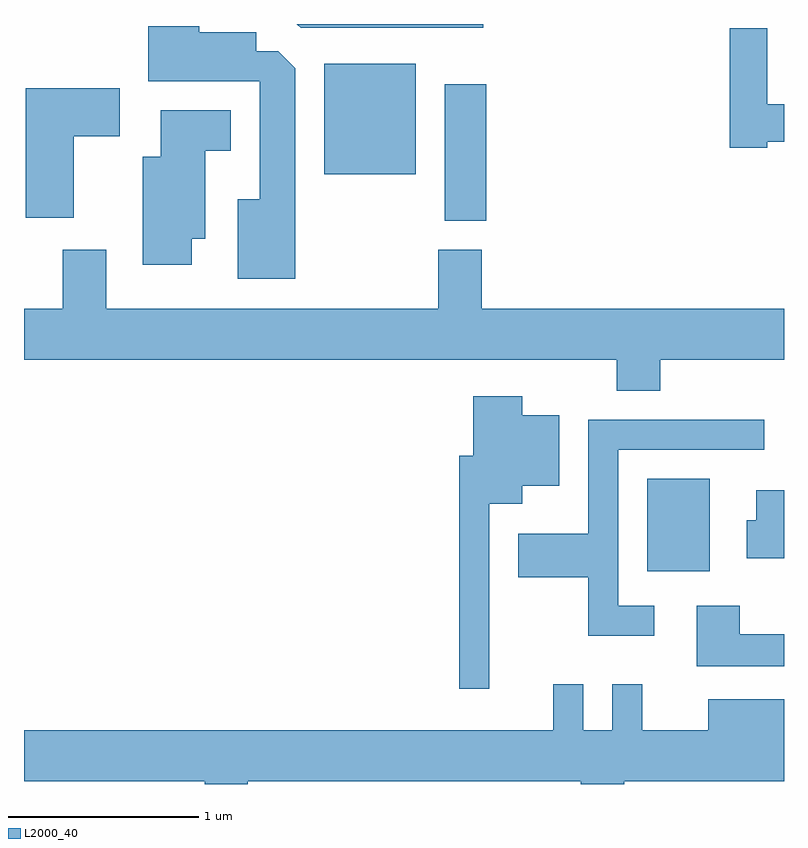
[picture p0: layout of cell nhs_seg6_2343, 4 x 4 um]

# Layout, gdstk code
import gdstk
lib = gdstk.Library(unit=1e-6, precision=1e-09)
def R(c, l, rs):  # rectangles x0, y0, x1, y1
    for r in rs: c.add(gdstk.rectangle(r[:2], r[2:], *l))
def P(c, l, *ps):  # polygons
    for p in ps: c.add(gdstk.Polygon(p, *l))
L2000_40 = (2000, 40)

nhs_seg6_2343 = lib.new_cell('nhs_seg6_2343')
R(nhs_seg6_2343, L2000_40, [(258.891,1633.281,259.219,1633.769), (257.826,1635.126,258.044,1635.844), (257.191,1635.371,257.674,1635.954)])
P(nhs_seg6_2343, L2000_40, [(258.028,1636.162),(257.046,1636.162),(257.067,1636.141),(258.028,1636.141)],
  [(257.039,1635.929),(256.949,1636.019),(256.834,1636.019),(256.834,1636.119),(256.534,1636.119),(256.534,1636.149),(256.266,1636.149),(256.266,1635.861),(256.851,1635.861),(256.851,1635.239),(256.736,1635.239),(256.736,1634.821),(257.039,1634.821)],
  [(259.524,1635.541),(259.611,1635.541),(259.611,1635.739),(259.524,1635.739),(259.524,1636.139),(259.326,1636.139),(259.326,1635.511),(259.524,1635.511)],
  [(255.874,1635.571),(256.114,1635.571),(256.114,1635.824),(255.621,1635.824),(255.621,1635.141),(255.874,1635.141)],
  [(256.494,1635.031),(256.564,1635.031),(256.564,1635.496),(256.699,1635.496),(256.699,1635.709),(256.331,1635.709),(256.331,1635.464),(256.236,1635.464),(256.236,1634.896),(256.494,1634.896)],
  [(257.791,1634.974),(257.791,1634.664),(256.044,1634.664),(256.044,1634.974),(255.816,1634.974),(255.816,1634.664),(255.611,1634.664),(255.611,1634.396),(258.731,1634.396),(258.731,1634.231),(258.959,1634.231),(258.959,1634.396),(259.611,1634.396),(259.611,1634.664),(258.019,1634.664),(258.019,1634.974)],
  [(258.059,1633.636),(258.234,1633.636),(258.234,1633.731),(258.429,1633.731),(258.429,1634.104),(258.234,1634.104),(258.234,1634.204),(257.976,1634.204),(257.976,1633.889),(257.901,1633.889),(257.901,1632.663),(258.059,1632.663)],
  [(258.928,1633.099),(258.739,1633.099),(258.739,1633.921),(259.508,1633.921),(259.508,1634.079),(258.581,1634.079),(258.581,1633.479),(258.211,1633.479),(258.211,1633.251),(258.581,1633.251),(258.581,1632.941),(258.928,1632.941)],
  [(259.611,1633.709),(259.466,1633.709),(259.466,1633.549),(259.416,1633.549),(259.416,1633.351),(259.611,1633.351)],
  [(259.611,1632.949),(259.379,1632.949),(259.379,1633.099),(259.151,1633.099),(259.151,1632.781),(259.611,1632.781)],
  [(256.789,1632.176),(258.541,1632.176),(258.541,1632.162),(258.769,1632.162),(258.769,1632.176),(259.611,1632.176),(259.611,1632.609),(259.211,1632.609),(259.211,1632.444),(258.864,1632.444),(258.864,1632.688),(258.706,1632.688),(258.706,1632.444),(258.554,1632.444),(258.554,1632.688),(258.396,1632.688),(258.396,1632.444),(255.611,1632.444),(255.611,1632.176),(256.561,1632.176),(256.561,1632.162),(256.789,1632.162)])

lib.write_gds('nhs_seg6_2343.gds')
